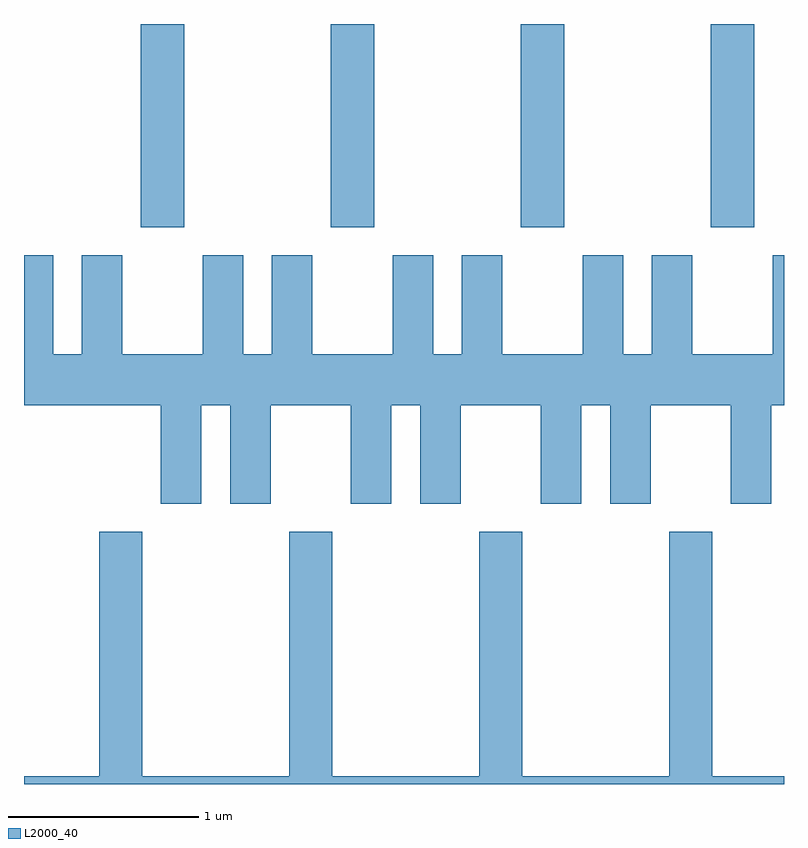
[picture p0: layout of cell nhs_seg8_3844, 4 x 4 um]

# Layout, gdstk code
import gdstk
lib = gdstk.Library(unit=1e-6, precision=1e-09)
def R(c, l, rs):  # rectangles x0, y0, x1, y1
    for r in rs: c.add(gdstk.rectangle(r[:2], r[2:], *l))
def A(c, l, x, y, w, h, nx, ny, dx, dy):  # array of equal rectangles
    R(c, l, [(x+i*dx, y+j*dy, x+i*dx+w, y+j*dy+h) for i in range(nx) for j in range(ny)])
def P(c, l, *ps):  # polygons
    for p in ps: c.add(gdstk.Polygon(p, *l))
L2000_40 = (2000, 40)

nhs_seg8_3844 = lib.new_cell('nhs_seg8_3844')
A(nhs_seg8_3844, L2000_40, 300.226, 1917.271, 0.228, 1.071, 4, 1, 1, 0)
P(nhs_seg8_3844, L2000_40, [(300.544,1916.336),(300.696,1916.336),(300.696,1915.816),(300.909,1915.816),(300.909,1916.336),(301.331,1916.336),(301.331,1915.816),(301.544,1915.816),(301.544,1916.336),(301.696,1916.336),(301.696,1915.816),(301.909,1915.816),(301.909,1916.336),(302.331,1916.336),(302.331,1915.816),(302.544,1915.816),(302.544,1916.336),(302.696,1916.336),(302.696,1915.816),(302.909,1915.816),(302.909,1916.336),(303.331,1916.336),(303.331,1915.816),(303.544,1915.816),(303.544,1916.336),(303.611,1916.336),(303.611,1917.124),(303.551,1917.124),(303.551,1916.604),(303.129,1916.604),(303.129,1917.124),(302.916,1917.124),(302.916,1916.604),(302.764,1916.604),(302.764,1917.124),(302.551,1917.124),(302.551,1916.604),(302.129,1916.604),(302.129,1917.124),(301.916,1917.124),(301.916,1916.604),(301.764,1916.604),(301.764,1917.124),(301.551,1917.124),(301.551,1916.604),(301.129,1916.604),(301.129,1917.124),(300.916,1917.124),(300.916,1916.604),(300.764,1916.604),(300.764,1917.124),(300.551,1917.124),(300.551,1916.604),(300.129,1916.604),(300.129,1917.124),(299.916,1917.124),(299.916,1916.604),(299.764,1916.604),(299.764,1917.124),(299.611,1917.124),(299.611,1916.336),(300.331,1916.336),(300.331,1915.816),(300.544,1915.816)],
  [(300.234,1915.669),(300.006,1915.669),(300.006,1914.384),(299.611,1914.384),(299.611,1914.342),(303.611,1914.342),(303.611,1914.384),(303.234,1914.384),(303.234,1915.669),(303.006,1915.669),(303.006,1914.384),(302.234,1914.384),(302.234,1915.669),(302.006,1915.669),(302.006,1914.384),(301.234,1914.384),(301.234,1915.669),(301.006,1915.669),(301.006,1914.384),(300.234,1914.384)])

lib.write_gds('nhs_seg8_3844.gds')
